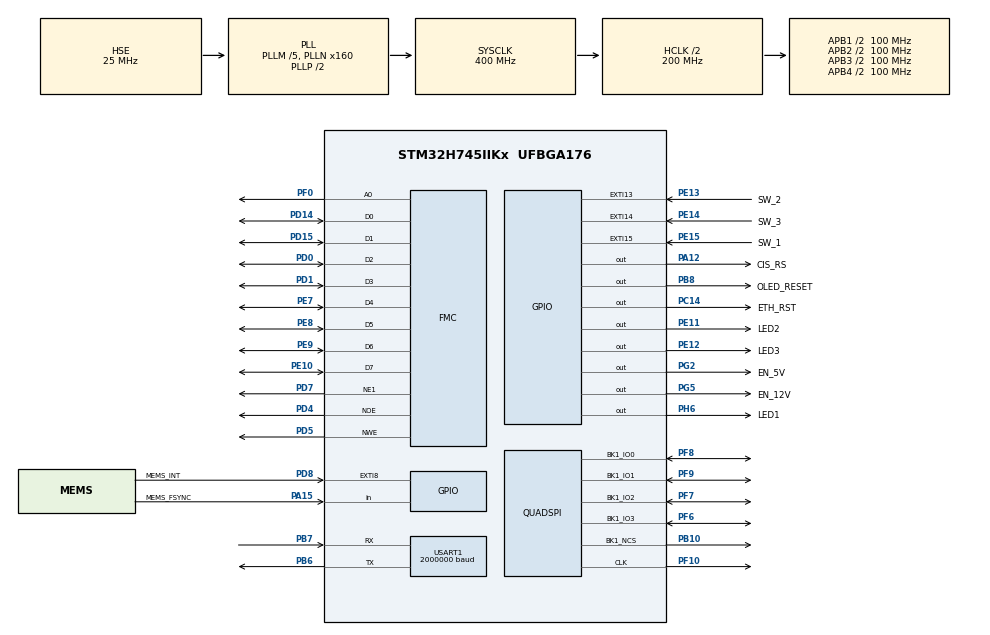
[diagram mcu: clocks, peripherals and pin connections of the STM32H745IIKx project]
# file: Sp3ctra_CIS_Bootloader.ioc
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CORTEX_M7.AccessPermission_S-Cortex_Memory_Protection_Unit_Region1_Settings_S=MPU_REGION_FULL_ACCESS
CORTEX_M7.AccessPermission_S-Cortex_Memory_Protection_Unit_Region2_Settings_S=MPU_REGION_FULL_ACCESS
CORTEX_M7.BaseAddress_S-Cortex_Memory_Protection_Unit_Region1_Settings_S=0x40000000
CORTEX_M7.BaseAddress_S-Cortex_Memory_Protection_Unit_Region2_Settings_S=0x30044000
CORTEX_M7.CPU_DCache=Enabled
CORTEX_M7.CPU_ICache=Enabled
CORTEX_M7.Enable-Cortex_Memory_Protection_Unit_Region0_Settings=__NULL
CORTEX_M7.Enable-Cortex_Memory_Protection_Unit_Region1_Settings=__NULL
CORTEX_M7.Enable-Cortex_Memory_Protection_Unit_Region2_Settings=__NULL
CORTEX_M7.Enable-Cortex_Memory_Protection_Unit_Region3_Settings=__NULL
CORTEX_M7.Enable-Cortex_Memory_Protection_Unit_Region4_Settings=__NULL
CORTEX_M7.Enable_S-Cortex_Memory_Protection_Unit_Region1_Settings_S=MPU_REGION_ENABLE
CORTEX_M7.Enable_S-Cortex_Memory_Protection_Unit_Region2_Settings_S=MPU_REGION_ENABLE
CORTEX_M7.IsBufferable_S-Cortex_Memory_Protection_Unit_Region1_Settings_S=MPU_ACCESS_BUFFERABLE
CORTEX_M7.IsCacheable_S-Cortex_Memory_Protection_Unit_Region2_Settings_S=MPU_ACCESS_CACHEABLE
CORTEX_M7.MPU_Control=MPU_PRIVILEGED_DEFAULT
CORTEX_M7.Size_S-Cortex_Memory_Protection_Unit_Region1_Settings_S=MPU_REGION_SIZE_256B
CORTEX_M7.Size_S-Cortex_Memory_Protection_Unit_Region2_Settings_S=MPU_REGION_SIZE_16KB
CORTEX_M7.default_mode_Activation=0
CRC.InputDataFormat=CRC_INPUTDATA_FORMAT_BYTES
CRC.InputDataInversionMode=CRC_INPUTDATA_INVERSION_BYTE
CRC.OutputDataInversionMode=CRC_OUTPUTDATA_INVERSION_ENABLE
CortexM4.IPs=CORTEX_M4\:I,FATFS_M4\:I,FREERTOS_M4\:I,IWDG2\:I,OPENAMP_M4\:I,PDM2PCM_M4\:I,PWR,RCC,RESMGR_UTILITY,SYS_M4\:I,USB_DEVICE_M4\:I,USB_HOST_M4\:I,VREFBUF,WWDG2\:I,DMA,BDMA,MDMA,NVIC2\:I,GPIO
CortexM7.IPs=CORTEX_M7\:I,DEBUG\:I,FATFS_M7\:I,FREERTOS_M7\:I,IWDG1\:I,OPENAMP_M7\:I,PDM2PCM_M7\:I,PWR\:I,RCC\:I,RESMGR_UTILITY\:I,SYS\:I,USB_DEVICE_M7\:I,USB_HOST_M7\:I,VREFBUF\:I,WWDG1\:I,DMA\:I,BDMA\:I,MDMA\:I,NVIC1\:I,USART1\:I,RNG\:I,CRC\:I,FMC\:I,GPIO\:I,QUADSPI\:I,TIM2\:I
CortexM7.Pins=PB8,PA15 (JTDI),PA12,PC14-OSC32_IN (OSC32_IN),PG5,PG2,PD8,PE14,PE12,PE13,PE15,PH6,PE11
FATFS_M7._FS_NORTC=1
FATFS_M7._FS_RPATH=2
FATFS_M7._MAX_SS=4096
FATFS_M7._MIN_SS=4096
FATFS_M7._USE_LFN=3
FMC.AddressSetupTime1=8
FMC.BusTurnAroundDuration1=5
FMC.DataSetupTime1=10
FMC.ExtendedAddressSetupTime1=8
FMC.ExtendedBusTurnAroundDuration1=5
FMC.ExtendedDataSetupTime1=10
FMC.ExtendedMode1=FMC_EXTENDED_MODE_ENABLE
FMC.WaitSignal1-NorPsramChipSelect1_1=FMC_WAIT_SIGNAL_ENABLE
FMC.WriteBurst1-Lcd1=FMC_WRITE_BURST_ENABLE
FMC.WriteOperation1-Lcd1=FMC_WRITE_OPERATION_DISABLE
Mcu.Family=STM32H7
Mcu.Name=STM32H745IIKx
Mcu.Package=UFBGA176
NVIC1.EXTI15_10_IRQn=true\:0\:2\:true\:false\:true\:true\:true\:true
NVIC1.PriorityGroup=NVIC_PRIORITYGROUP_2
NVIC1.QUADSPI_IRQn=true\:2\:0\:true\:false\:true\:true\:true\:true
NVIC1.TIM2_IRQn=true\:3\:0\:true\:false\:true\:false\:true\:true
NVIC1.TimeBase=TIM2_IRQn
NVIC1.TimeBaseIP=TIM2
NVIC2.PriorityGroup=NVIC_PRIORITYGROUP_2
PA0_C.GPIO_Label=CIS_ADC_1
PA0_C.PinAttribute=CortexM7
PA0_C.Signal=ADCx_INP0
PA1.GPIO_Mode=GPIO_MODE_AF_PP
PA1.GPIO_PuPd=GPIO_NOPULL
PA1.GPIO_Speed=GPIO_SPEED_FREQ_VERY_HIGH
PA1.GPIO_Speed_Default_HIGH=GPIO_SPEED_FREQ_VERY_HIGH
PA1.PinAttribute=CortexM7
PA1.Signal=ETH_REF_CLK
PA12.GPIO_Label=CIS_RS
PA12.GPIO_Speed=GPIO_SPEED_FREQ_VERY_HIGH
PA12.PinAttribute=CortexM7
PA12.Signal=GPIO_Output
PA13\ (JTMS/SWDIO).Mode=Serial_Wire
PA13\ (JTMS/SWDIO).PinAttribute=CortexM7
PA13\ (JTMS/SWDIO).Signal=DEBUG_JTMS-SWDIO
PA14\ (JTCK/SWCLK).Mode=Serial_Wire
PA14\ (JTCK/SWCLK).PinAttribute=CortexM7
PA14\ (JTCK/SWCLK).Signal=DEBUG_JTCK-SWCLK
PA15\ (JTDI).GPIO_Label=MEMS_FSYNC
PA15\ (JTDI).GPIO_PuPd=GPIO_PULLUP
PA15\ (JTDI).PinAttribute=CortexM7
PA15\ (JTDI).Signal=GPIO_Input
PA1_C.GPIO_Label=CIS_ADC_2
PA1_C.PinAttribute=CortexM7
PA1_C.Signal=ADCx_INP1
PA2.GPIO_Mode=GPIO_MODE_AF_PP
PA2.GPIO_PuPd=GPIO_NOPULL
PA2.GPIO_Speed=GPIO_SPEED_FREQ_VERY_HIGH
PA2.GPIO_Speed_Default_HIGH=GPIO_SPEED_FREQ_VERY_HIGH
PA2.PinAttribute=CortexM7
PA2.Signal=ETH_MDIO
PA7.GPIO_Mode=GPIO_MODE_AF_PP
PA7.GPIO_PuPd=GPIO_NOPULL
PA7.GPIO_Speed=GPIO_SPEED_FREQ_VERY_HIGH
PA7.GPIO_Speed_Default_HIGH=GPIO_SPEED_FREQ_VERY_HIGH
PA7.PinAttribute=CortexM7
PA7.Signal=ETH_CRS_DV
PA9.GPIO_Label=CIS_CP
PA9.GPIO_Speed=GPIO_SPEED_FREQ_MEDIUM
PA9.PinAttribute=CortexM7
PA9.Signal=S_TIM1_CH2
PB10.GPIO_Speed=GPIO_SPEED_FREQ_VERY_HIGH
PB10.Mode=Single Bank 1
PB10.PinAttribute=CortexM7
PB10.Signal=QUADSPI_BK1_NCS
PB14.GPIO_Speed=GPIO_SPEED_FREQ_VERY_HIGH
PB14.PinAttribute=CortexM7
PB14.Signal=SPI2_MISO
PB15.GPIO_Speed=GPIO_SPEED_FREQ_VERY_HIGH
PB15.PinAttribute=CortexM7
PB15.Signal=SPI2_MOSI
PB6.Mode=Asynchronous
PB6.PinAttribute=CortexM7
PB6.Signal=USART1_TX
PB7.Mode=Asynchronous
PB7.PinAttribute=CortexM7
PB7.Signal=USART1_RX
PB8.GPIO_FM8=SYSCFG_PMCR_I2C_PB8_FMP
PB8.GPIO_Label=OLED_RESET
PB8.GPIO_Speed=GPIO_SPEED_FREQ_LOW
PB8.PinAttribute=CortexM7
PB8.Signal=GPIO_Output
PB9.GPIO_FM9=SYSCFG_PMCR_I2C_PB9_FMP
PB9.GPIO_Label=MEMS_CS
PB9.GPIO_Speed=GPIO_SPEED_FREQ_VERY_HIGH
PB9.PinAttribute=CortexM7
PB9.Signal=SPI2_NSS
PC1.GPIO_Mode=GPIO_MODE_AF_PP
PC1.GPIO_PuPd=GPIO_NOPULL
PC1.GPIO_Speed=GPIO_SPEED_FREQ_VERY_HIGH
PC1.GPIO_Speed_Default_HIGH=GPIO_SPEED_FREQ_VERY_HIGH
PC1.PinAttribute=CortexM7
PC1.Signal=ETH_MDC
PC14-OSC32_IN\ (OSC32_IN).GPIO_Label=ETH_RST
PC14-OSC32_IN\ (OSC32_IN).PinAttribute=CortexM7
PC14-OSC32_IN\ (OSC32_IN).PinState=GPIO_PIN_SET
PC14-OSC32_IN\ (OSC32_IN).Signal=GPIO_Output
PC3_C.GPIO_Label=CIS_ADC_3
PC3_C.PinAttribute=CortexM7
PC3_C.Signal=ADC3_INP1
PC4.GPIO_Mode=GPIO_MODE_AF_PP
PC4.GPIO_PuPd=GPIO_NOPULL
PC4.GPIO_Speed=GPIO_SPEED_FREQ_VERY_HIGH
PC4.GPIO_Speed_Default_HIGH=GPIO_SPEED_FREQ_VERY_HIGH
PC4.PinAttribute=CortexM7
PC4.Signal=ETH_RXD0
PC5.GPIO_Mode=GPIO_MODE_AF_PP
PC5.GPIO_PuPd=GPIO_NOPULL
PC5.GPIO_Speed=GPIO_SPEED_FREQ_VERY_HIGH
PC5.GPIO_Speed_Default_HIGH=GPIO_SPEED_FREQ_VERY_HIGH
PC5.PinAttribute=CortexM7
PC5.Signal=ETH_RXD1
PC6.GPIO_Label=CIS_LED_B
PC6.GPIO_Speed=GPIO_SPEED_FREQ_MEDIUM
PC6.PinAttribute=CortexM7
PC6.Signal=S_TIM3_CH1
PC8.GPIO_Label=CIS_SP
PC8.GPIO_Speed=GPIO_SPEED_FREQ_MEDIUM
PC8.PinAttribute=CortexM7
PC8.Signal=S_TIM8_CH3
PD0.PinAttribute=CortexM7
PD0.Signal=FMC_D2_DA2
PD1.PinAttribute=CortexM7
PD1.Signal=FMC_D3_DA3
PD13.GPIO_Label=CIS_LED_R
PD13.GPIO_Speed=GPIO_SPEED_FREQ_MEDIUM
PD13.PinAttribute=CortexM7
PD13.Signal=S_TIM4_CH2
PD14.PinAttribute=CortexM7
PD14.Signal=FMC_D0_DA0
PD15.PinAttribute=CortexM7
PD15.Signal=FMC_D1_DA1
PD3.GPIO_Speed=GPIO_SPEED_FREQ_VERY_HIGH
PD3.PinAttribute=CortexM7
PD3.Signal=SPI2_SCK
PD4.PinAttribute=CortexM7
PD4.Signal=FMC_NOE
PD5.PinAttribute=CortexM7
PD5.Signal=FMC_NWE
PD7.Mode=NorPsramChipSelect1_1
PD7.PinAttribute=CortexM7
PD7.Signal=FMC_NE1
PD8.GPIO_Label=MEMS_INT
PD8.GPIO_ModeDefaultEXTI=GPIO_MODE_IT_FALLING
PD8.GPIO_PuPd=GPIO_PULLUP
PD8.PinAttribute=CortexM7
PD8.Signal=GPXTI8
PE10.PinAttribute=CortexM7
PE10.Signal=FMC_D7_DA7
PE11.GPIO_Label=LED2
PE11.PinAttribute=CortexM7
PE11.PinState=GPIO_PIN_SET
PE11.Signal=GPIO_Output
PE12.GPIO_Label=LED3
PE12.PinAttribute=CortexM7
PE12.PinState=GPIO_PIN_SET
PE12.Signal=GPIO_Output
PE13.GPIO_Label=SW_2
PE13.GPIO_ModeDefaultEXTI=GPIO_MODE_IT_FALLING
PE13.PinAttribute=CortexM7
PE13.Signal=GPXTI13
PE14.GPIO_Label=SW_3
PE14.GPIO_ModeDefaultEXTI=GPIO_MODE_IT_FALLING
PE14.PinAttribute=CortexM7
PE14.Signal=GPXTI14
PE15.GPIO_Label=SW_1
PE15.GPIO_ModeDefaultEXTI=GPIO_MODE_IT_FALLING
PE15.PinAttribute=CortexM7
PE15.Signal=GPXTI15
PE7.PinAttribute=CortexM7
PE7.Signal=FMC_D4_DA4
PE8.PinAttribute=CortexM7
PE8.Signal=FMC_D5_DA5
PE9.PinAttribute=CortexM7
PE9.Signal=FMC_D6_DA6
PF0.PinAttribute=CortexM7
PF0.Signal=FMC_A0
PF10.GPIO_Speed=GPIO_SPEED_FREQ_VERY_HIGH
PF10.Mode=Single Bank 1
PF10.PinAttribute=CortexM7
PF10.Signal=QUADSPI_CLK
PF6.GPIO_Speed=GPIO_SPEED_FREQ_VERY_HIGH
PF6.Mode=Single Bank 1
PF6.PinAttribute=CortexM7
PF6.Signal=QUADSPI_BK1_IO3
PF7.GPIO_Speed=GPIO_SPEED_FREQ_VERY_HIGH
PF7.Mode=Single Bank 1
PF7.PinAttribute=CortexM7
PF7.Signal=QUADSPI_BK1_IO2
PF8.GPIO_Speed=GPIO_SPEED_FREQ_VERY_HIGH
PF8.Mode=Single Bank 1
PF8.PinAttribute=CortexM7
PF8.Signal=QUADSPI_BK1_IO0
PF9.GPIO_Speed=GPIO_SPEED_FREQ_VERY_HIGH
PF9.Mode=Single Bank 1
PF9.PinAttribute=CortexM7
PF9.Signal=QUADSPI_BK1_IO1
PG11.GPIO_Mode=GPIO_MODE_AF_PP
PG11.GPIO_PuPd=GPIO_NOPULL
PG11.GPIO_Speed=GPIO_SPEED_FREQ_VERY_HIGH
PG11.GPIO_Speed_Default_HIGH=GPIO_SPEED_FREQ_VERY_HIGH
PG11.PinAttribute=CortexM7
PG11.Signal=ETH_TX_EN
PG13.GPIO_Mode=GPIO_MODE_AF_PP
PG13.GPIO_PuPd=GPIO_NOPULL
PG13.GPIO_Speed=GPIO_SPEED_FREQ_VERY_HIGH
PG13.GPIO_Speed_Default_HIGH=GPIO_SPEED_FREQ_VERY_HIGH
PG13.PinAttribute=CortexM7
PG13.Signal=ETH_TXD0
PG14.GPIO_Mode=GPIO_MODE_AF_PP
PG14.GPIO_PuPd=GPIO_NOPULL
PG14.GPIO_Speed=GPIO_SPEED_FREQ_VERY_HIGH
PG14.GPIO_Speed_Default_HIGH=GPIO_SPEED_FREQ_VERY_HIGH
PG14.PinAttribute=CortexM7
PG14.Signal=ETH_TXD1
PG2.GPIO_Label=EN_5V
PG2.PinAttribute=CortexM7
PG2.Signal=GPIO_Output
PG5.GPIO_Label=EN_12V
PG5.PinAttribute=CortexM7
PG5.Signal=GPIO_Output
PH0-OSC_IN\ (PH0).Mode=HSE-External-Oscillator
PH0-OSC_IN\ (PH0).PinAttribute=Free
PH0-OSC_IN\ (PH0).Signal=RCC_OSC_IN
PH1-OSC_OUT\ (PH1).Mode=HSE-External-Oscillator
PH1-OSC_OUT\ (PH1).PinAttribute=Free
PH1-OSC_OUT\ (PH1).Signal=RCC_OSC_OUT
PH12.GPIO_Label=CIS_LED_G
PH12.GPIO_Speed=GPIO_SPEED_FREQ_MEDIUM
PH12.PinAttribute=CortexM7
PH12.Signal=S_TIM5_CH3
PH6.GPIO_Label=LED1
PH6.GPIO_Speed=GPIO_SPEED_FREQ_LOW
PH6.PinAttribute=CortexM7
PH6.PinState=GPIO_PIN_SET
PH6.Signal=GPIO_Output
ProjectManager.HeapSize=M4-0x400,M7-0x400
ProjectManager.StackSize=M4-0x800,M7-0x800
ProjectManager.TargetToolchain=STM32CubeIDE
QUADSPI.ChipSelectHighTime=QSPI_CS_HIGH_TIME_4_CYCLE
QUADSPI.ClockPrescaler=1
QUADSPI.FifoThreshold=16
QUADSPI.SampleShifting=QSPI_SAMPLE_SHIFTING_HALFCYCLE
RCC.ADCFreq_Value=80000000
RCC.APB1Freq_Value=100000000
RCC.APB2Freq_Value=100000000
RCC.APB3Freq_Value=100000000
RCC.APB4Freq_Value=100000000
RCC.CKPERSourceSelection=RCC_CLKPSOURCE_HSE
RCC.CortexFreq_Value=400000000
RCC.D1PPRE=RCC_APB3_DIV2
RCC.D2PPRE1=RCC_APB1_DIV2
RCC.D2PPRE2=RCC_APB2_DIV2
RCC.D3PPRE=RCC_APB4_DIV2
RCC.DIVM1=5
RCC.DIVM2=5
RCC.DIVM3=5
RCC.DIVN1=160
RCC.DIVN2=160
RCC.DIVN3=160
RCC.DIVP2=10
RCC.DIVP3=16
RCC.DIVQ1=8
RCC.DIVQ2=10
RCC.DIVQ3=16
RCC.DIVR1=4
RCC.DIVR2=10
RCC.DIVR3=16
RCC.FLatency-AdvancedSettings=FLASH_LATENCY_0
RCC.FMCCLockSelection=RCC_FMCCLKSOURCE_PLL
RCC.HCLKFreq_Value=200000000
RCC.HPRE=RCC_HCLK_DIV2
RCC.PLL1_VCI_Range-AdvancedSettings=RCC_PLL1VCIRANGE_0
RCC.PLL1_VCO_SEL-AdvancedSettings=RCC_PLL1VCOMEDIUM
RCC.PLL3_VCI_Range-AdvancedSettings=RCC_PLL3VCIRANGE_0
RCC.PLL3_VCO_SEL-AdvancedSettings=RCC_PLL3VCOMEDIUM
RCC.PLLFRACN=0
RCC.PLLSourceVirtual=RCC_PLLSOURCE_HSE
RCC.PWR_Regulator_Voltage_Scale=PWR_REGULATOR_VOLTAGE_SCALE1
RCC.QSPICLockSelection=RCC_QSPICLKSOURCE_PLL
RCC.SAI1CLockSelection=RCC_SAI1CLKSOURCE_PLL2
RCC.SPI123CLockSelection=RCC_SPI123CLKSOURCE_PLL2
RCC.SYSCLKFreq_VALUE=400000000
RCC.SYSCLKSource=RCC_SYSCLKSOURCE_PLLCLK
RCC.USART16CLockSelection=RCC_USART16CLKSOURCE_PLL3
RCC.USBFreq_Value=100000000
SH.ADCx_INP0.0=ADC1_INP0
SH.ADCx_INP1.0=ADC2_INP1
SH.FMC_A0.0=FMC_A0,A0_1
SH.FMC_D0_DA0.0=FMC_D0,8b-d1
SH.FMC_D1_DA1.0=FMC_D1,8b-d1
SH.FMC_D2_DA2.0=FMC_D2,8b-d1
SH.FMC_D3_DA3.0=FMC_D3,8b-d1
SH.FMC_D4_DA4.0=FMC_D4,8b-d1
SH.FMC_D5_DA5.0=FMC_D5,8b-d1
SH.FMC_D6_DA6.0=FMC_D6,8b-d1
SH.FMC_D7_DA7.0=FMC_D7,8b-d1
SH.FMC_NOE.0=FMC_NOE,Lcd1
SH.FMC_NWE.0=FMC_NWE,Lcd1
SH.S_TIM1_CH2.0=TIM1_CH2
SH.S_TIM3_CH1.0=TIM3_CH1
SH.S_TIM4_CH2.0=TIM4_CH2
SH.S_TIM5_CH3.0=TIM5_CH3
SH.S_TIM8_CH3.0=TIM8_CH3
USART1.BaudRate=2000000
USART1.VirtualMode-Asynchronous=VM_ASYNC
VP_CRC_VS_CRC.Mode=CRC_Activate
VP_FATFS_M7_VS_Generic.Mode=User_defined
VP_RNG_VS_RNG.Mode=RNG_Activate
VP_SYS_M4_VS_Systick.Mode=SysTick
VP_SYS_VS_tim2.Mode=TIM2
board=custom

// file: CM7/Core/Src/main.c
/* USER CODE BEGIN Header */
/**
 ******************************************************************************
 * @file           : main.c
 * @brief          : Main program body
 ******************************************************************************
 * @attention
 *
 * Copyright (c) 2024 STMicroelectronics.
 * All rights reserved.
 *
 * This software is licensed under terms that can be found in the LICENSE file
 * in the root directory of this software component.
 * If no LICENSE file comes with this software, it is provided AS-IS.
 *
 ******************************************************************************
 */
/* USER CODE END Header */
#include "main.h"
#include "crc.h"
#include "fatfs.h"
#include "quadspi.h"
#include "rng.h"
#include "usart.h"
#include "gpio.h"
#include "fmc.h"

/* USER CODE BEGIN Includes */
#include "boot_config.h"
#include "stm32_flash.h"
#include "file_manager.h"

#include "ota.h"
#include "ota_boot.h"
#include "update.h"
#include "update_gui.h"
#include "log_ring.h"
#include "netboot.h"

#include "basetypes.h"
#include "stdio.h"
#include "stdbool.h"

/* USER CODE END Includes */

/* USER CODE BEGIN PV */

typedef void (*pFunction)(void);

/* USER CODE END PV */

void SystemClock_Config(void);
static void MPU_Config(void);
/* USER CODE BEGIN PFP */

/* Function prototypes */
static void configureBootConfiguration(void);

/* USER CODE END PFP */

/* USER CODE BEGIN 0 */

#include "stm32h7xx_hal.h"

/**
 * @brief  Configure boot settings for CM4.
 *         This function checks and updates the option bytes to ensure the correct
 *         boot address and permissions for the Cortex-M4 core.
 */
void configureBootConfiguration(void)
{
    bool needUpdate = false;
    FLASH_OBProgramInitTypeDef currentOB = {0};
    FLASH_OBProgramInitTypeDef newOB     = {0};

    // 1) Unlock the FLASH and the option bytes
    HAL_FLASH_Unlock();
    HAL_FLASH_OB_Unlock();

    // 2) Read the current option bytes configuration
    HAL_FLASHEx_OBGetConfig(&currentOB);

    // 3) Check if the current boot addresses match the desired ones
    uint32_t currentCm4Boot = currentOB.CM4BootAddr0;

    if (currentCm4Boot != FW_CM4_SLOT_ADDR(FW_SLOT_A))
    {
        newOB.OptionType |= OPTIONBYTE_CM4_BOOTADD;
        newOB.CM4BootConfig = OB_BOOT_ADD0;
        newOB.CM4BootAddr0 = FW_CM4_SLOT_ADDR(FW_SLOT_A);

        needUpdate = true;
    }

    // 4) Check if the CM4 is currently allowed to boot
    if (READ_BIT(SYSCFG->UR1, SYSCFG_UR1_BCM4) != 0U)
    {
        newOB.OptionType |= OPTIONBYTE_USER;
        newOB.USERType   |= OB_USER_BCM4;
        newOB.USERConfig = (currentOB.USERConfig & ~OB_BCM4_ENABLE) | OB_BCM4_DISABLE;

        needUpdate = true;
    }

    // 5) Apply the new configuration if needed
    if (needUpdate)
    {
        // Program the new option bytes
        if (HAL_FLASHEx_OBProgram(&newOB) != HAL_OK)
        {
            Error_Handler();
        }

        // Trigger the update of the option bytes
        if (HAL_FLASH_OB_Launch() != HAL_OK)
        {
            Error_Handler();
        }

        // Restart the system to apply the changes
        HAL_NVIC_SystemReset();
    }

    // 8) Relock
    HAL_FLASH_OB_Lock();
    HAL_FLASH_Lock();
}

/* USER CODE END 0 */

int main(void)
{

  /* USER CODE BEGIN 1 */
	/* Table des vecteurs de CE bootloader, qu'il tourne en slot A (0x08000000) ou
	 * en slot B (0x080E0000, choisi par BOOT_ADD0) : le flasheur reseau en deduit
	 * le secteur a proteger, et les interruptions ne dependent plus de la valeur
	 * de reset de VTOR. */
	{
		extern uint32_t g_pfnVectors[];
		SCB->VTOR = (uint32_t)g_pfnVectors;
		__DSB();
	}
  /* USER CODE END 1 */
/* USER CODE BEGIN Boot_Mode_Sequence_0 */

/* USER CODE END Boot_Mode_Sequence_0 */

  /* MPU Configuration--------------------------------------------------------*/
  MPU_Config();

  /* Enable the CPU Cache */

  /* Enable I-Cache---------------------------------------------------------*/
  SCB_EnableICache();

  /* Enable D-Cache---------------------------------------------------------*/
  SCB_EnableDCache();

/* USER CODE BEGIN Boot_Mode_Sequence_1 */

/* USER CODE END Boot_Mode_Sequence_1 */
  /* MCU Configuration--------------------------------------------------------*/

  /* Reset of all peripherals, Initializes the Flash interface and the Systick. */
  HAL_Init();

  /* USER CODE BEGIN Init */
	configureBootConfiguration();
  /* USER CODE END Init */

  /* Configure the system clock */
  SystemClock_Config();
/* USER CODE BEGIN Boot_Mode_Sequence_2 */

/* USER CODE END Boot_Mode_Sequence_2 */

  /* USER CODE BEGIN SysInit */

	/* Chien de garde : s'il a survecu au reset qui nous amene ici, les etapes
	 * longues qui suivent (CRC, sauvegarde, flash) le rechargeront via
	 * progress_update(). */
	otaBoot_refreshWatchdog();

	/* Liaison serie avant l'etape precoce : c'est la seule trace de ce que
	 * decide le sequenceur, et le chemin rapide (rien a faire, on saute dans
	 * l'application) n'atteint jamais l'initialisation des peripheriques plus
	 * bas. HAL_UART_MspInit se suffit a lui-meme -- il configure PLL3, les
	 * horloges et ses broches. */
	MX_USART1_UART_Init();

	/* Anneau de logs en RAM retenue : le premier printf doit le trouver pret. */
	log_ring_init();

	printf("\n------- START BOOTLOADER -------\n");
	printf("Bootloader version: %s\n", BL_VERSION);
	otaBoot_logResetCause();

	/* Mode flasheur reseau : demande de l'application (boite aux lettres) ou
	 * deux boutons exterieurs maintenus a la mise sous tension. Ne revient pas. */
	{
		netboot_reason_t netbootReason;
		if (netboot_entryRequested(&netbootReason))
		{
			netboot_run(netbootReason);
		}
	}

	/* Etape precoce du sequenceur : saute directement dans l'application quand
	 * il n'y a rien a faire, et ne retourne alors pas. */
	otaBoot_earlyStage();

  /* USER CODE END SysInit */

  /* Initialize all configured peripherals */
  MX_GPIO_Init();
  MX_FMC_Init();
  MX_USART1_UART_Init();
  MX_RNG_Init();
  MX_CRC_Init();
  MX_QUADSPI_Init();
  MX_FATFS_Init();
  /* USER CODE BEGIN 2 */

	gui_init();

	printf("----- FILE INITIALIZATION -----\n");

	otaBoot_refreshWatchdog();

	/* Montage de la NOR QSPI : c'est la qu'attend le paquet et les sauvegardes. */
	if (f_mount(&fs, "0:", 1) != FR_OK)
	{
		/* Sans systeme de fichiers, ni application ni restauration ne sont
		 * possibles. On demarre malgre tout ce qui se trouve en flash plutot
		 * que de laisser la machine morte dans le bootloader. */
		printf("FS mount ERROR\n");
		gui_displayMessage("        STORAGE FAILURE         ",
		                   "     SERVICE REQUIRED (SWD)     ");
		HAL_Delay(3000);
		otaBoot_jumpToFirmware(FW_CM7_SLOT_ADDR(FW_SLOT_A));
	}
	printf("FS mount SUCCESS\n");

	/* Etape tardive : application du paquet ou restauration. Ne retourne pas. */
	otaBoot_lateStage();

  /* USER CODE END 2 */

  /* Infinite loop */
	while (1)
	{

	}
}

void SystemClock_Config(void)
{
  RCC_OscInitTypeDef RCC_OscInitStruct = {0};
  RCC_ClkInitTypeDef RCC_ClkInitStruct = {0};

  /** Supply configuration update enable
  */
  HAL_PWREx_ConfigSupply(PWR_DIRECT_SMPS_SUPPLY);

  /** Configure the main internal regulator output voltage
  */
  __HAL_PWR_VOLTAGESCALING_CONFIG(PWR_REGULATOR_VOLTAGE_SCALE1);

  while(!__HAL_PWR_GET_FLAG(PWR_FLAG_VOSRDY)) {}

  /** Initializes the RCC Oscillators according to the specified parameters
  * in the RCC_OscInitTypeDef structure.
  */
  RCC_OscInitStruct.OscillatorType = RCC_OSCILLATORTYPE_HSI48|RCC_OSCILLATORTYPE_HSE;
  RCC_OscInitStruct.HSEState = RCC_HSE_ON;
  RCC_OscInitStruct.HSI48State = RCC_HSI48_ON;
  RCC_OscInitStruct.PLL.PLLState = RCC_PLL_ON;
  RCC_OscInitStruct.PLL.PLLSource = RCC_PLLSOURCE_HSE;
  RCC_OscInitStruct.PLL.PLLM = 5;
  RCC_OscInitStruct.PLL.PLLN = 160;
  RCC_OscInitStruct.PLL.PLLP = 2;
  RCC_OscInitStruct.PLL.PLLQ = 8;
  RCC_OscInitStruct.PLL.PLLR = 4;
  RCC_OscInitStruct.PLL.PLLRGE = RCC_PLL1VCIRANGE_2;
  RCC_OscInitStruct.PLL.PLLVCOSEL = RCC_PLL1VCOWIDE;
  RCC_OscInitStruct.PLL.PLLFRACN = 0;
  if (HAL_RCC_OscConfig(&RCC_OscInitStruct) != HAL_OK)
  {
    Error_Handler();
  }

  /** Initializes the CPU, AHB and APB buses clocks
  */
  RCC_ClkInitStruct.ClockType = RCC_CLOCKTYPE_HCLK|RCC_CLOCKTYPE_SYSCLK
                              |RCC_CLOCKTYPE_PCLK1|RCC_CLOCKTYPE_PCLK2
                              |RCC_CLOCKTYPE_D3PCLK1|RCC_CLOCKTYPE_D1PCLK1;
  RCC_ClkInitStruct.SYSCLKSource = RCC_SYSCLKSOURCE_PLLCLK;
  RCC_ClkInitStruct.SYSCLKDivider = RCC_SYSCLK_DIV1;
  RCC_ClkInitStruct.AHBCLKDivider = RCC_HCLK_DIV2;
  RCC_ClkInitStruct.APB3CLKDivider = RCC_APB3_DIV2;
  RCC_ClkInitStruct.APB1CLKDivider = RCC_APB1_DIV2;
  RCC_ClkInitStruct.APB2CLKDivider = RCC_APB2_DIV2;
  RCC_ClkInitStruct.APB4CLKDivider = RCC_APB4_DIV2;

  if (HAL_RCC_ClockConfig(&RCC_ClkInitStruct, FLASH_LATENCY_2) != HAL_OK)
  {
    Error_Handler();
  }
}

 /* MPU Configuration */

void MPU_Config(void)
{

  /* Disables the MPU */
  HAL_MPU_Disable();

  /* Enables the MPU */
  HAL_MPU_Enable(MPU_PRIVILEGED_DEFAULT);

}

void HAL_TIM_PeriodElapsedCallback(TIM_HandleTypeDef *htim)
{
  if (htim->Instance == TIM2)
  {
    HAL_IncTick();
  }
}

void Error_Handler(void)
{
	__disable_irq();
	while (1)
	{
	}
}
